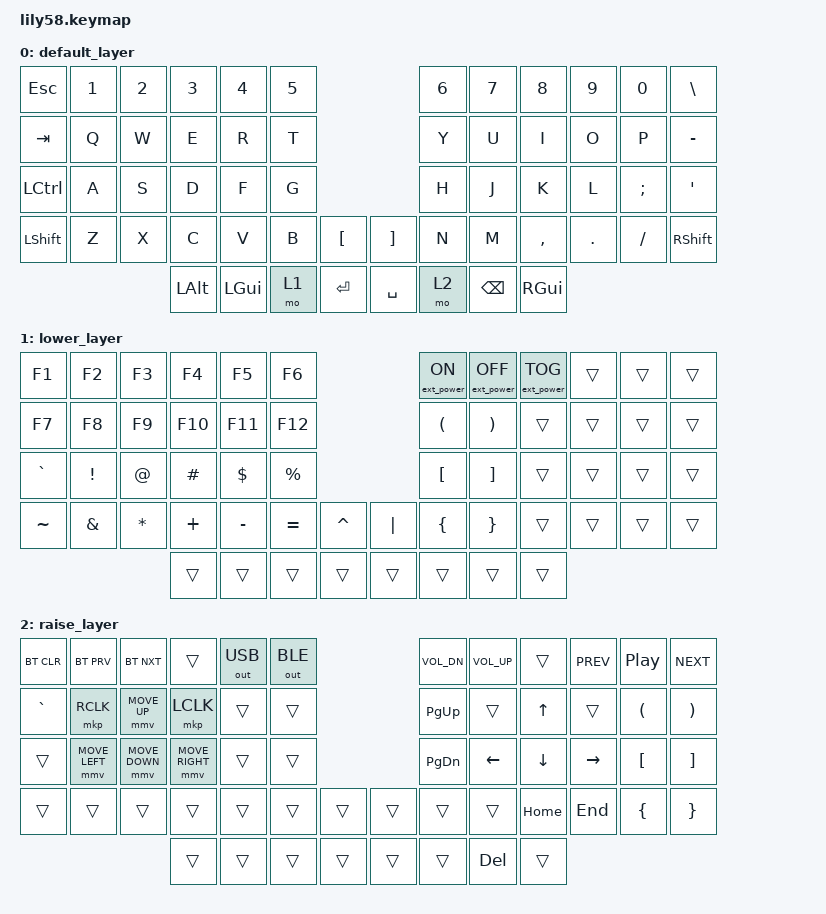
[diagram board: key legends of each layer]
/*
 * Copyright (c) 2020 The ZMK Contributors
 *
 * SPDX-License-Identifier: MIT
 */

#include <behaviors.dtsi>
#include <dt-bindings/zmk/bt.h>
#include <dt-bindings/zmk/ext_power.h>
#include <dt-bindings/zmk/keys.h>
#include <dt-bindings/zmk/outputs.h>
#include <dt-bindings/zmk/pointing.h>

/ {
    macros {
        latex_matrix: latex_matrix {
            compatible = "zmk,behavior-macro";
            #binding-cells = <0>;
            bindings = <&kp BSLH &kp L &kp E &kp F &kp T &kp LBKT &kp RET &kp BSLH &kp B &kp E &kp G &kp I &kp N &kp LBRC &kp A &kp R &kp &kp R &kp A &kp Y &kp RBRC &kp LBRC &kp C &kp RBRC &kp RET &kp RET &kp BSLH &kp E &kp N &kp D &kp LBRC &kp A &kp R &kp &kp R &kp A &kp Y &kp RBRC &kp RET &kp BSLH &kp R &kp I &kp G &kp H &kp T &kp RBKT &kp ENTER &kp UP_ARROW &kp UP_ARROW &kp UP_ARROW>;
            label = "LATEX_MATRIX";
        };
    };

    keymap {
        compatible = "zmk,keymap";

        default_layer {
            // ------------------------------------------------------------------------------------------------------------
            // |  ESC  |  1  |  2  |  3   |  4   |  5   |                   |  6   |  7    |  8    |  9   |   0   |   `   |
            // |  TAB  |  Q  |  W  |  E   |  R   |  T   |                   |  Y   |  U    |  I    |  O   |   P   |   -   |
            // |  CTRL |  A  |  S  |  D   |  F   |  G   |                   |  H   |  J    |  K    |  L   |   ;   |   '   |
            // | SHIFT |  Z  |  X  |  C   |  V   |  B   |   "["  |  |  "]"  |  N   |  M    |  ,    |  .   |   /   | SHIFT |
            //                     | ALT  | GUI  | LOWER|  SPACE |  | ENTER | RAISE| BSPC  | GUI   |

            bindings = <
&kp ESC    &kp N1  &kp N2  &kp N3    &kp N4    &kp N5                         &kp N6  &kp N7    &kp N8     &kp N9   &kp N0    &kp BACKSLASH
&kp TAB    &kp Q   &kp W   &kp E     &kp R     &kp T                          &kp Y   &kp U     &kp I      &kp O    &kp P     &kp MINUS
&kp LCTRL  &kp A   &kp S   &kp D     &kp F     &kp G                          &kp H   &kp J     &kp K      &kp L    &kp SEMI  &kp SQT
&kp LSHFT  &kp Z   &kp X   &kp C     &kp V     &kp B   &kp LBKT    &kp RBKT   &kp N   &kp M     &kp COMMA  &kp DOT  &kp FSLH  &kp RSHFT
                           &kp LALT  &kp LGUI  &mo 1   &kp RET     &kp SPACE  &mo 2   &kp BSPC  &kp RGUI
            >;
        };

        lower_layer {
            // ------------------------------------------------------------------------------------------------------------
            // | BTCLR | BT1 | BT2 |  BT3 |  BT4 |  BT5 |                   |      |       |       |      |       |       |
            // |  F1   |  F2 |  F3 |  F4  |  F5  |  F6  |                   |  F7  |  F8   |  F9   |  F10 |  F11  |  F12  |
            // |   `   |  !  |  @  |  #   |  $   |  %   |                   |  ^   |  &    |  *    |  (   |   )   |   ~   |
            // |       |     |     |      |      |      |        |  |       |      |  _    |  +    |  {   |   }   |  "|"  |
            //                     |      |      |      |        |  |       |      |       |       |

            bindings = <
&kp F1     &kp F2         &kp F3        &kp F4    &kp F5      &kp F6                            &ext_power EP_ON      &ext_power EP_OFF      &ext_power EP_TOG  &trans  &trans  &trans
&kp F7     &kp F8         &kp F9        &kp F10   &kp F11     &kp F12                           &kp LEFT_PARENTHESIS  &kp RIGHT_PARENTHESIS  &trans             &trans  &trans  &trans
&kp GRAVE  &kp EXCL       &kp AT        &kp HASH  &kp DOLLAR  &kp PRCNT                         &kp LEFT_BRACKET      &kp RIGHT_BRACKET      &trans             &trans  &trans  &trans
&kp TILDE  &kp AMPERSAND  &kp ASTERISK  &kp PLUS  &kp MINUS   &kp EQUAL  &kp CARET    &kp PIPE  &kp LEFT_BRACE        &kp RIGHT_BRACE        &trans             &trans  &trans  &trans
                                        &trans    &trans      &trans     &trans       &trans    &trans                &trans                 &trans
            >;
        };

        raise_layer {
            // ------------------------------------------------------------------------------------------------------------
            // |       |     |     |      |      |      |                   |      |       |       |      |       |       |
            // |   `   |  1  |  2  |  3   |  4   |  5   |                   |  6   |   7   |   8   |  9   |   0   |       |
            // |   F1  |  F2 |  F3 |  F4  |  F5  |  F6  |                   |      |   <-  |   v   |  ^   |  ->   |       |
            // |   F7  |  F8 |  F9 |  F10 |  F11 |  F12 |        |  |       |  +   |   -   |   =   |  [   |   ]   |   \   |
            //                     |      |      |      |        |  |       |      |       |       |

            bindings = <
&bt BT_CLR  &bt BT_PRV      &bt BT_NXT      &trans           &out OUT_USB  &out OUT_BLE                    &kp C_VOL_DN  &kp C_VOL_UP  &trans        &kp C_PREV  &kp C_PLAY_PAUSE      &kp C_NEXT
&kp GRAVE   &mkp RCLK       &mmv MOVE_UP    &mkp LCLK        &trans        &trans                          &kp PAGE_UP   &trans        &kp UP_ARROW  &trans      &kp LEFT_PARENTHESIS  &kp RIGHT_PARENTHESIS
&trans      &mmv MOVE_LEFT  &mmv MOVE_DOWN  &mmv MOVE_RIGHT  &trans        &trans                          &kp PG_DN     &kp LEFT      &kp DOWN      &kp RIGHT   &kp LEFT_BRACKET      &kp RIGHT_BRACKET
&trans      &trans          &trans          &trans           &trans        &trans        &trans    &trans  &trans        &trans        &kp HOME      &kp END     &kp LEFT_BRACE        &kp RIGHT_BRACE
                                            &trans           &trans        &trans        &trans    &trans  &trans        &kp DEL       &trans
            >;
        };
    };
};
